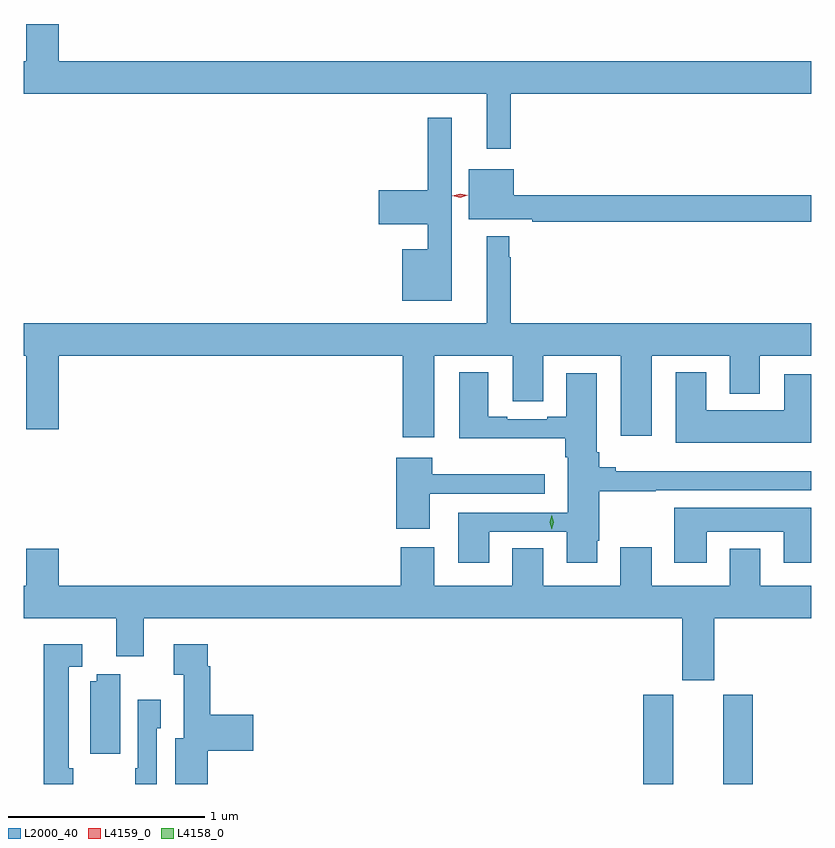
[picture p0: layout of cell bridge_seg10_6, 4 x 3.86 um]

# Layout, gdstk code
import gdstk
lib = gdstk.Library(unit=1e-6, precision=1e-09)
def R(c, l, rs):  # rectangles x0, y0, x1, y1
    for r in rs: c.add(gdstk.rectangle(r[:2], r[2:], *l))
def P(c, l, *ps):  # polygons
    for p in ps: c.add(gdstk.Polygon(p, *l))
L2000_40 = (2000, 40)
L4158_0 = (4158, 0)
L4159_0 = (4159, 0)

bridge_seg10_6 = lib.new_cell('bridge_seg10_6')
R(bridge_seg10_6, L2000_40, [(1067.24,1258.181,1067.392,1258.635), (1067.648,1258.181,1067.796,1258.635)])
P(bridge_seg10_6, L2000_40, [(1066.567,1261.688),(1068.094,1261.688),(1068.094,1261.852),(1064.272,1261.852),(1064.272,1262.041),(1064.108,1262.041),(1064.108,1261.852),(1064.094,1261.852),(1064.094,1261.688),(1066.445,1261.688),(1066.445,1261.407),(1066.567,1261.407)],
  [(1066.267,1261.564),(1066.146,1261.564),(1066.146,1261.196),(1065.897,1261.196),(1065.897,1261.025),(1066.146,1261.025),(1066.146,1260.898),(1066.016,1260.898),(1066.016,1260.635),(1066.267,1260.635)],
  [(1068.094,1261.172),(1066.582,1261.172),(1066.582,1261.303),(1066.355,1261.303),(1066.355,1261.049),(1066.678,1261.049),(1066.678,1261.036),(1068.094,1261.036)],
  [(1066.18,1260.356),(1066.577,1260.356),(1066.577,1260.126),(1066.732,1260.126),(1066.732,1260.356),(1067.126,1260.356),(1067.126,1259.949),(1067.284,1259.949),(1067.284,1260.356),(1067.681,1260.356),(1067.681,1260.164),(1067.833,1260.164),(1067.833,1260.356),(1068.094,1260.356),(1068.094,1260.52),(1066.567,1260.52),(1066.567,1260.857),(1066.56,1260.857),(1066.56,1260.964),(1066.445,1260.964),(1066.445,1260.52),(1064.094,1260.52),(1064.094,1260.356),(1064.108,1260.356),(1064.108,1259.982),(1064.272,1259.982),(1064.272,1260.356),(1066.019,1260.356),(1066.019,1259.943),(1066.18,1259.943)],
  [(1068.094,1260.262),(1067.957,1260.262),(1067.957,1260.079),(1067.56,1260.079),(1067.56,1260.271),(1067.405,1260.271),(1067.405,1259.915),(1068.094,1259.915)],
  [(1066.459,1259.463),(1066.853,1259.463),(1066.853,1259.304),(1067.008,1259.304),(1067.008,1259.416),(1067.016,1259.416),(1067.016,1259.668),(1067.303,1259.668),(1067.303,1259.673),(1068.094,1259.673),(1068.094,1259.77),(1067.101,1259.77),(1067.101,1259.789),(1067.018,1259.789),(1067.018,1259.866),(1067.005,1259.866),(1067.005,1260.268),(1066.85,1260.268),(1066.85,1260.046),(1066.754,1260.046),(1066.754,1260.033),(1066.549,1260.033),(1066.549,1260.046),(1066.453,1260.046),(1066.453,1260.271),(1066.307,1260.271),(1066.307,1259.936),(1066.844,1259.936),(1066.844,1259.84),(1066.856,1259.84),(1066.856,1259.559),(1066.301,1259.559),(1066.301,1259.304),(1066.459,1259.304)],
  [(1066.156,1259.655),(1066.741,1259.655),(1066.741,1259.753),(1066.169,1259.753),(1066.169,1259.839),(1065.986,1259.839),(1065.986,1259.478),(1066.156,1259.478)],
  [(1067.563,1259.462),(1067.954,1259.462),(1067.954,1259.304),(1068.094,1259.304),(1068.094,1259.584),(1067.399,1259.584),(1067.399,1259.304),(1067.563,1259.304)],
  [(1067.602,1259.024),(1068.094,1259.024),(1068.094,1259.188),(1067.836,1259.188),(1067.836,1259.377),(1067.681,1259.377),(1067.681,1259.188),(1067.284,1259.188),(1067.284,1259.383),(1067.123,1259.383),(1067.123,1259.188),(1066.732,1259.188),(1066.732,1259.378),(1066.574,1259.378),(1066.574,1259.188),(1066.18,1259.188),(1066.18,1259.383),(1066.01,1259.383),(1066.01,1259.188),(1064.272,1259.188),(1064.272,1259.377),(1064.108,1259.377),(1064.108,1259.188),(1064.094,1259.188),(1064.094,1259.024),(1064.564,1259.024),(1064.564,1258.83),(1064.704,1258.83),(1064.704,1259.024),(1067.438,1259.024),(1067.438,1258.707),(1067.602,1258.707)],
  [(1065.028,1258.349),(1065.259,1258.349),(1065.259,1258.532),(1065.041,1258.532),(1065.041,1258.778),(1065.028,1258.778),(1065.028,1258.891),(1064.856,1258.891),(1064.856,1258.735),(1064.906,1258.735),(1064.906,1258.414),(1064.864,1258.414),(1064.864,1258.181),(1065.028,1258.181)],
  [(1064.345,1258.26),(1064.323,1258.26),(1064.323,1258.776),(1064.392,1258.776),(1064.392,1258.891),(1064.195,1258.891),(1064.195,1258.181),(1064.345,1258.181)],
  [(1064.584,1258.739),(1064.464,1258.739),(1064.464,1258.702),(1064.432,1258.702),(1064.432,1258.335),(1064.584,1258.335)],
  [(1064.769,1258.464),(1064.79,1258.464),(1064.79,1258.609),(1064.673,1258.609),(1064.673,1258.261),(1064.661,1258.261),(1064.661,1258.181),(1064.769,1258.181)])
P(bridge_seg10_6, L4158_0, [(1066.776,1259.475),(1066.776,1259.475),(1066.766,1259.511),(1066.776,1259.546),(1066.776,1259.547),(1066.777,1259.546),(1066.786,1259.511),(1066.777,1259.475)])
P(bridge_seg10_6, L4159_0, [(1066.31,1261.159),(1066.27,1261.168),(1066.27,1261.168),(1066.27,1261.168),(1066.31,1261.179),(1066.35,1261.17),(1066.35,1261.17),(1066.35,1261.17)])

lib.write_gds('bridge_seg10_6.gds')
